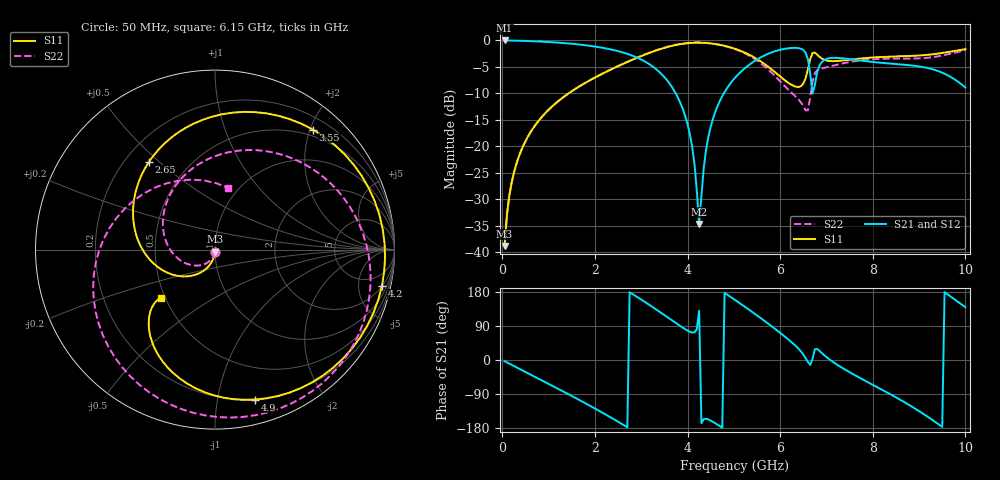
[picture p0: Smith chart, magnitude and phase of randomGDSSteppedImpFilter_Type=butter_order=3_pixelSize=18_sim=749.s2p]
! freq	dB(S11)	phase(S11)	dB(S12)	phase(S12)
!  dB(S21)	phase(S21)	dB(S22)	phase(S22)
!S-par simulation data
#  GHz  S  DB  R 50
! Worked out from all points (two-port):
!   200 points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, 50 MHz to 10 GHz, reference 50 ohm
!   highest |S21| = -0.01 dB at 50 MHz (marker M1); lowest = -34.7 dB at 4.25 GHz (marker M2)
!   |S21| within 3 dB of the highest: start of sweep to 2.846 GHz; 5.622 GHz to 6.578 GHz (955.1 MHz wide, 15.7 % of centre)
!   lowest |S11| = -38.8 dB at 50 MHz (marker M3), VSWR 1.02, Z = 50 - j1.14 ohm
!   |S11| at or under -10 dB: start of sweep to 1.432 GHz
!   |S22| runs from -38.9 to -0.4 dB; largest |S21 - S12| = 0
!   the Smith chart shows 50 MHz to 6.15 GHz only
!   S11 on the Smith chart (normalised r, x): 50 MHz: 1.00, -0.02; 2.65 GHz: 0.30, +0.46; 3.55 GHz: 0.39, +2.05; 4.2 GHz: 2.06, -8.83; 4.9 GHz: 0.19, -1.29; 6.15 GHz: 0.47, -0.30
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0.05  -38.84 -91.2  -0.01 -3.2  -0.01 -3.2  -38.86 -93.0
0.5  -19.04 -113.7  -0.10 -31.4  -0.10 -31.4  -19.07 -130.1
1.75  -8.23 -176.1  -0.86 -111.2  -0.86 -111.2  -8.23 131.9
2.65  -4.26 126.9  -2.40 -173.8  -2.40 -173.8  -4.23 63.5
3.4  -1.67 64.8  -6.03 126.9  -6.03 126.9  -1.62 5.9
3.55  -1.28 50.8  -7.44 114.3  -7.44 114.3  -1.22 -6.1
4.2  -0.43 -12.3  -28.30 81.0  -28.30 81.0  -0.38 -59.6
4.25  -0.43 -17.1  -34.68 129.9  -34.68 129.9  -0.38 -63.7
4.45  -0.52 -35.8  -18.22 -157.0  -18.22 -157.0  -0.49 -80.6
4.9  -1.25 -74.9  -8.43 169.0  -8.43 169.0  -1.29 -119.4
5.05  -1.66 -86.8  -6.82 156.5  -6.82 156.5  -1.74 -133.1
5.55  -3.78 -121.1  -3.35 113.2  -3.35 113.2  -4.11 174.6
6.15  -7.85 -138.4  -1.51 56.9  -1.51 56.9  -9.08 78.1
6.55  -7.13 -113.3  -2.34 5.3  -2.34 5.3  -13.21 -67.6
6.7  -2.37 -127.2  -10.02 3.4  -10.02 3.4  -7.77 122.9
6.85  -3.10 -150.2  -4.73 24.0  -4.73 24.0  -5.41 34.2
7.05  -3.87 -159.0  -3.38 2.9  -3.38 2.9  -4.98 -13.7
7.65  -3.49 177.7  -3.70 -42.5  -3.70 -42.5  -3.86 -84.2
8.35  -3.07 145.9  -4.36 -88.4  -4.36 -88.4  -3.44 -144.8
8.9  -2.90 120.2  -4.79 -127.2  -4.79 -127.2  -3.42 161.4
9.4  -2.50 95.7  -5.75 -167.8  -5.75 -167.8  -3.02 101.5
10  -1.65 60.1  -8.90 139.4  -8.90 139.4  -1.85 28.2
